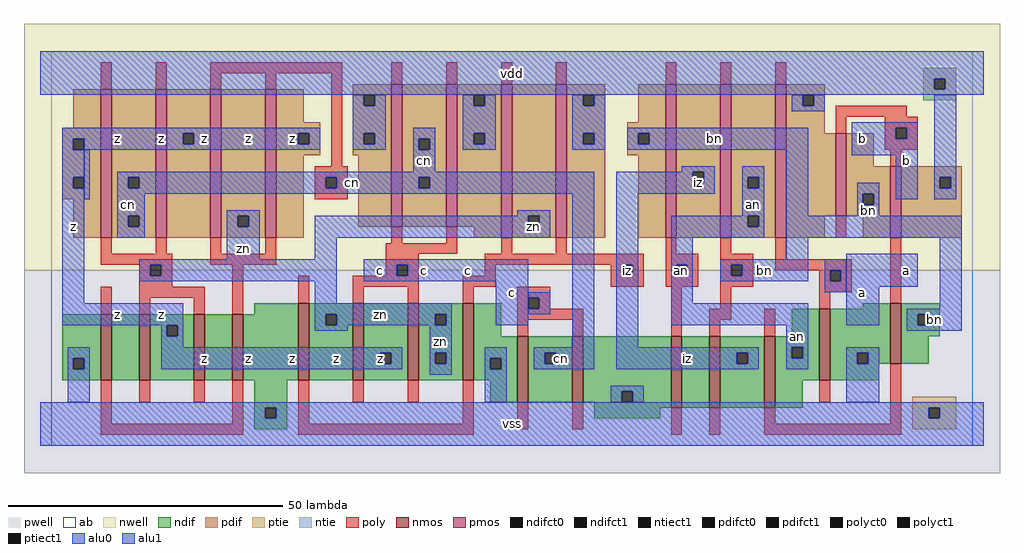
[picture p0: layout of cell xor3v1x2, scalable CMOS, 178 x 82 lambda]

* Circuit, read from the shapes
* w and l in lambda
.subckt xor3v1x2 a an b bn c cn iz vdd vss z zn
M1 n1 cn vss vss nfet w=12 l=2
M2 z zn n1 vss nfet w=12 l=2
M3 n2 zn z vss nfet w=12 l=2
M4 vss cn n2 vss nfet w=12 l=2
M5 zn iz vss vss nfet w=14 l=2 m=2
M6 z c zn vss nfet w=14 l=2 m=2
M7 cn c vss vss nfet w=12 l=2 m=2
M8 n3 an vss vss nfet w=13 l=2
M9 iz bn n3 vss nfet w=13 l=2
M10 an b iz vss nfet w=13 l=2
M11 vss a an vss nfet w=13 l=2
M12 bn b vss vss nfet w=11 l=2
M13 cn zn z vdd pfet w=27 l=2 m=2
M14 zn cn z vdd pfet w=27 l=2 m=2
M15 cn c vdd vdd pfet w=26 l=2 m=2
M16 zn iz vdd vdd pfet w=28 l=2 m=2
M17 iz an bn vdd pfet w=28 l=2
M18 an bn iz vdd pfet w=28 l=2
M19 vdd a an vdd pfet w=28 l=2
M20 bn b vdd vdd pfet w=15 l=2
M21 vdd b bn vdd pfet w=13 l=2
.ends

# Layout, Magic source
magic
tech scmos
<< ab >>
rect 0 0 168 72
<< nwell >>
rect -5 32 173 77
<< pwell >>
rect -5 -5 173 32
<< poly >>
rect 9 65 11 70
rect 19 65 21 70
rect 29 68 53 70
rect 29 65 31 68
rect 39 65 41 68
rect 51 51 53 68
rect 62 66 64 70
rect 72 66 74 70
rect 82 66 84 70
rect 92 66 94 70
rect 112 66 114 70
rect 122 66 124 70
rect 132 66 134 70
rect 48 49 54 51
rect 48 47 50 49
rect 52 47 54 49
rect 48 45 54 47
rect 9 35 11 38
rect 19 35 21 38
rect 29 35 31 38
rect 39 35 41 38
rect 62 37 64 40
rect 72 37 74 40
rect 143 60 156 62
rect 143 57 145 60
rect 152 58 158 60
rect 152 56 154 58
rect 156 56 158 58
rect 152 54 158 56
rect 153 51 155 54
rect 143 38 145 42
rect 9 33 22 35
rect 29 33 41 35
rect 61 35 74 37
rect 82 35 84 38
rect 92 35 94 38
rect 112 35 114 38
rect 122 35 124 38
rect 61 33 67 35
rect 16 31 18 33
rect 20 31 22 33
rect 16 29 22 31
rect 9 24 11 29
rect 16 27 28 29
rect 16 24 18 27
rect 26 24 28 27
rect 33 24 35 33
rect 61 31 63 33
rect 65 31 67 33
rect 79 33 108 35
rect 79 31 81 33
rect 45 26 47 31
rect 55 29 67 31
rect 55 26 57 29
rect 65 26 67 29
rect 75 29 81 31
rect 102 31 104 33
rect 106 31 108 33
rect 102 29 108 31
rect 112 33 118 35
rect 112 31 114 33
rect 116 31 118 33
rect 112 29 118 31
rect 122 33 128 35
rect 122 31 124 33
rect 126 31 128 33
rect 132 34 134 38
rect 132 32 146 34
rect 122 29 128 31
rect 140 30 142 32
rect 144 30 146 32
rect 75 26 77 29
rect 85 27 91 29
rect 85 25 87 27
rect 89 25 91 27
rect 85 23 97 25
rect 85 20 87 23
rect 95 20 97 23
rect 113 20 115 29
rect 122 25 124 29
rect 140 28 146 30
rect 140 25 142 28
rect 153 26 155 38
rect 120 23 124 25
rect 120 20 122 23
rect 130 20 132 25
rect 9 4 11 12
rect 16 8 18 12
rect 26 8 28 12
rect 33 4 35 12
rect 9 2 35 4
rect 45 4 47 12
rect 55 8 57 12
rect 65 8 67 12
rect 75 4 77 12
rect 45 2 77 4
rect 85 3 87 8
rect 95 3 97 8
rect 140 8 142 12
rect 113 2 115 7
rect 120 2 122 7
rect 130 4 132 7
rect 153 4 155 15
rect 130 2 155 4
<< ndif >>
rect 37 24 45 26
rect 2 16 9 24
rect 2 14 4 16
rect 6 14 9 16
rect 2 12 9 14
rect 11 12 16 24
rect 18 22 26 24
rect 18 20 21 22
rect 23 20 26 22
rect 18 12 26 20
rect 28 12 33 24
rect 35 12 45 24
rect 47 24 55 26
rect 47 22 50 24
rect 52 22 55 24
rect 47 12 55 22
rect 57 17 65 26
rect 57 15 60 17
rect 62 15 65 17
rect 57 12 65 15
rect 67 24 75 26
rect 67 22 70 24
rect 72 22 75 24
rect 67 17 75 22
rect 67 15 70 17
rect 72 15 75 17
rect 67 12 75 15
rect 77 20 82 26
rect 148 25 153 26
rect 135 20 140 25
rect 77 16 85 20
rect 77 14 80 16
rect 82 14 85 16
rect 77 12 85 14
rect 37 7 43 12
rect 37 5 39 7
rect 41 5 43 7
rect 37 3 43 5
rect 80 8 85 12
rect 87 17 95 20
rect 87 15 90 17
rect 92 15 95 17
rect 87 8 95 15
rect 97 10 113 20
rect 97 8 104 10
rect 106 8 113 10
rect 99 7 113 8
rect 115 7 120 20
rect 122 17 130 20
rect 122 15 125 17
rect 127 15 130 17
rect 122 7 130 15
rect 132 18 140 20
rect 132 16 135 18
rect 137 16 140 18
rect 132 12 140 16
rect 142 17 153 25
rect 142 15 147 17
rect 149 15 153 17
rect 155 24 162 26
rect 155 22 158 24
rect 160 22 162 24
rect 155 20 162 22
rect 155 15 160 20
rect 142 12 151 15
rect 132 7 137 12
rect 99 5 111 7
<< pdif >>
rect 4 58 9 65
rect 2 56 9 58
rect 2 54 4 56
rect 6 54 9 56
rect 2 49 9 54
rect 2 47 4 49
rect 6 47 9 49
rect 2 45 9 47
rect 4 38 9 45
rect 11 49 19 65
rect 11 47 14 49
rect 16 47 19 49
rect 11 42 19 47
rect 11 40 14 42
rect 16 40 19 42
rect 11 38 19 40
rect 21 57 29 65
rect 21 55 24 57
rect 26 55 29 57
rect 21 38 29 55
rect 31 42 39 65
rect 31 40 34 42
rect 36 40 39 42
rect 31 38 39 40
rect 41 59 46 65
rect 41 57 49 59
rect 41 55 45 57
rect 47 55 49 57
rect 41 53 49 55
rect 41 38 46 53
rect 55 64 62 66
rect 55 62 57 64
rect 59 62 62 64
rect 55 57 62 62
rect 55 55 57 57
rect 59 55 62 57
rect 55 53 62 55
rect 56 40 62 53
rect 64 56 72 66
rect 64 54 67 56
rect 69 54 72 56
rect 64 49 72 54
rect 64 47 67 49
rect 69 47 72 49
rect 64 40 72 47
rect 74 64 82 66
rect 74 62 77 64
rect 79 62 82 64
rect 74 57 82 62
rect 74 55 77 57
rect 79 55 82 57
rect 74 40 82 55
rect 77 38 82 40
rect 84 42 92 66
rect 84 40 87 42
rect 89 40 92 42
rect 84 38 92 40
rect 94 64 101 66
rect 94 62 97 64
rect 99 62 101 64
rect 94 57 101 62
rect 107 59 112 66
rect 94 55 97 57
rect 99 55 101 57
rect 94 38 101 55
rect 105 57 112 59
rect 105 55 107 57
rect 109 55 112 57
rect 105 53 112 55
rect 107 38 112 53
rect 114 50 122 66
rect 114 48 117 50
rect 119 48 122 50
rect 114 38 122 48
rect 124 49 132 66
rect 124 47 127 49
rect 129 47 132 49
rect 124 42 132 47
rect 124 40 127 42
rect 129 40 132 42
rect 124 38 132 40
rect 134 64 141 66
rect 134 62 137 64
rect 139 62 141 64
rect 134 57 141 62
rect 134 42 143 57
rect 145 51 150 57
rect 145 46 153 51
rect 145 44 148 46
rect 150 44 153 46
rect 145 42 153 44
rect 134 38 141 42
rect 148 38 153 42
rect 155 49 166 51
rect 155 47 162 49
rect 164 47 166 49
rect 155 38 166 47
<< alu1 >>
rect -2 67 170 72
rect -2 65 161 67
rect 163 65 170 67
rect -2 64 170 65
rect 2 57 49 58
rect 2 56 24 57
rect 2 54 4 56
rect 6 55 24 56
rect 26 55 45 57
rect 47 55 49 57
rect 6 54 49 55
rect 146 58 158 59
rect 2 49 6 54
rect 2 47 4 49
rect 2 26 6 47
rect 57 33 87 34
rect 57 31 63 33
rect 65 31 87 33
rect 57 30 87 31
rect 2 22 24 26
rect 20 20 21 22
rect 23 20 24 22
rect 81 22 87 30
rect 20 18 24 20
rect 20 17 64 18
rect 20 15 60 17
rect 62 15 64 17
rect 20 14 64 15
rect 146 56 154 58
rect 156 56 158 58
rect 146 53 158 56
rect 154 45 158 53
rect 145 29 158 35
rect 145 22 151 29
rect -2 7 170 8
rect -2 5 39 7
rect 41 5 160 7
rect 162 5 170 7
rect -2 0 170 5
<< ptie >>
rect 157 7 165 9
rect 157 5 160 7
rect 162 5 165 7
rect 157 3 165 5
<< ntie >>
rect 159 67 165 69
rect 159 65 161 67
rect 163 65 165 67
rect 159 63 165 65
<< nmos >>
rect 9 12 11 24
rect 16 12 18 24
rect 26 12 28 24
rect 33 12 35 24
rect 45 12 47 26
rect 55 12 57 26
rect 65 12 67 26
rect 75 12 77 26
rect 85 8 87 20
rect 95 8 97 20
rect 113 7 115 20
rect 120 7 122 20
rect 130 7 132 20
rect 140 12 142 25
rect 153 15 155 26
<< pmos >>
rect 9 38 11 65
rect 19 38 21 65
rect 29 38 31 65
rect 39 38 41 65
rect 62 40 64 66
rect 72 40 74 66
rect 82 38 84 66
rect 92 38 94 66
rect 112 38 114 66
rect 122 38 124 66
rect 132 38 134 66
rect 143 42 145 57
rect 153 38 155 51
<< polyct0 >>
rect 50 47 52 49
rect 18 31 20 33
rect 104 31 106 33
rect 114 31 116 33
rect 124 31 126 33
rect 142 30 144 32
rect 87 25 89 27
<< polyct1 >>
rect 154 56 156 58
rect 63 31 65 33
<< ndifct0 >>
rect 4 14 6 16
rect 50 22 52 24
rect 70 22 72 24
rect 70 15 72 17
rect 80 14 82 16
rect 90 15 92 17
rect 104 8 106 10
rect 125 15 127 17
rect 135 16 137 18
rect 147 15 149 17
rect 158 22 160 24
<< ndifct1 >>
rect 21 20 23 22
rect 60 15 62 17
rect 39 5 41 7
<< ntiect1 >>
rect 161 65 163 67
<< ptiect1 >>
rect 160 5 162 7
<< pdifct0 >>
rect 14 47 16 49
rect 14 40 16 42
rect 34 40 36 42
rect 57 62 59 64
rect 57 55 59 57
rect 67 54 69 56
rect 67 47 69 49
rect 77 62 79 64
rect 77 55 79 57
rect 87 40 89 42
rect 97 62 99 64
rect 97 55 99 57
rect 107 55 109 57
rect 117 48 119 50
rect 127 47 129 49
rect 127 40 129 42
rect 137 62 139 64
rect 148 44 150 46
rect 162 47 164 49
<< pdifct1 >>
rect 4 54 6 56
rect 4 47 6 49
rect 24 55 26 57
rect 45 55 47 57
<< alu0 >>
rect 55 62 57 64
rect 59 62 61 64
rect 55 57 61 62
rect 75 62 77 64
rect 79 62 81 64
rect 55 55 57 57
rect 59 55 61 57
rect 55 54 61 55
rect 66 56 70 58
rect 66 54 67 56
rect 69 54 70 56
rect 75 57 81 62
rect 75 55 77 57
rect 79 55 81 57
rect 75 54 81 55
rect 95 62 97 64
rect 99 62 101 64
rect 95 57 101 62
rect 135 62 137 64
rect 139 62 141 64
rect 135 61 141 62
rect 95 55 97 57
rect 99 55 101 57
rect 95 54 101 55
rect 105 57 138 58
rect 105 55 107 57
rect 109 55 138 57
rect 105 54 138 55
rect 6 45 7 54
rect 66 50 70 54
rect 115 50 121 51
rect 12 49 99 50
rect 12 47 14 49
rect 16 47 50 49
rect 52 47 67 49
rect 69 47 99 49
rect 12 46 99 47
rect 12 42 17 46
rect 12 40 14 42
rect 16 40 17 42
rect 12 38 17 40
rect 32 42 38 43
rect 85 42 91 43
rect 32 40 34 42
rect 36 40 38 42
rect 32 34 38 40
rect 48 40 87 42
rect 89 40 91 42
rect 48 38 91 40
rect 48 34 52 38
rect 16 33 52 34
rect 16 31 18 33
rect 20 31 52 33
rect 16 30 52 31
rect 48 26 52 30
rect 48 24 73 26
rect 48 22 50 24
rect 52 22 70 24
rect 72 22 73 24
rect 87 27 91 28
rect 89 25 91 27
rect 87 24 91 25
rect 48 21 54 22
rect 3 16 7 18
rect 3 14 4 16
rect 6 14 7 16
rect 69 17 73 22
rect 95 18 99 46
rect 69 15 70 17
rect 72 15 73 17
rect 3 8 7 14
rect 69 13 73 15
rect 79 16 83 18
rect 79 14 80 16
rect 82 14 83 16
rect 88 17 99 18
rect 88 15 90 17
rect 92 15 99 17
rect 88 14 99 15
rect 103 48 117 50
rect 119 48 121 50
rect 103 46 121 48
rect 126 49 130 51
rect 126 47 127 49
rect 129 47 130 49
rect 103 33 107 46
rect 126 42 130 47
rect 103 31 104 33
rect 106 31 107 33
rect 103 18 107 31
rect 113 40 127 42
rect 129 40 130 42
rect 113 38 130 40
rect 134 42 138 54
rect 147 46 151 48
rect 147 44 148 46
rect 150 44 151 46
rect 161 49 165 64
rect 161 47 162 49
rect 164 47 165 49
rect 161 45 165 47
rect 147 42 151 44
rect 134 38 166 42
rect 113 33 117 38
rect 134 34 138 38
rect 113 31 114 33
rect 116 31 117 33
rect 113 26 117 31
rect 122 33 138 34
rect 122 31 124 33
rect 126 31 138 33
rect 122 30 138 31
rect 141 32 145 34
rect 141 30 142 32
rect 144 30 145 32
rect 141 28 145 30
rect 113 22 138 26
rect 162 25 166 38
rect 156 24 166 25
rect 156 22 158 24
rect 160 22 166 24
rect 134 18 138 22
rect 156 21 166 22
rect 103 17 129 18
rect 103 15 125 17
rect 127 15 129 17
rect 103 14 129 15
rect 134 16 135 18
rect 137 16 138 18
rect 134 14 138 16
rect 145 17 151 18
rect 145 15 147 17
rect 149 15 151 17
rect 79 8 83 14
rect 102 10 108 11
rect 102 8 104 10
rect 106 8 108 10
rect 145 8 151 15
<< labels >>
rlabel alu0 35 36 35 36 6 zn
rlabel alu0 14 44 14 44 6 cn
rlabel alu0 71 19 71 19 6 zn
rlabel alu0 60 24 60 24 6 zn
rlabel alu0 68 52 68 52 6 cn
rlabel alu0 93 16 93 16 6 cn
rlabel polyct0 115 32 115 32 6 an
rlabel alu0 88 40 88 40 6 zn
rlabel polyct0 105 32 105 32 6 iz
rlabel alu0 55 48 55 48 6 cn
rlabel alu0 118 48 118 48 6 iz
rlabel alu0 116 16 116 16 6 iz
rlabel alu0 136 20 136 20 6 an
rlabel alu0 130 32 130 32 6 bn
rlabel alu0 161 23 161 23 6 bn
rlabel alu0 149 43 149 43 6 bn
rlabel alu0 128 44 128 44 6 an
rlabel alu0 121 56 121 56 6 bn
rlabel alu1 28 16 28 16 6 z
rlabel alu1 36 16 36 16 6 z
rlabel alu1 12 24 12 24 6 z
rlabel alu1 20 24 20 24 6 z
rlabel alu1 4 40 4 40 6 z
rlabel alu1 28 56 28 56 6 z
rlabel alu1 20 56 20 56 6 z
rlabel alu1 12 56 12 56 6 z
rlabel alu1 36 56 36 56 6 z
rlabel alu1 60 16 60 16 6 z
rlabel alu1 52 16 52 16 6 z
rlabel alu1 44 16 44 16 6 z
rlabel alu1 68 32 68 32 6 c
rlabel alu1 76 32 76 32 6 c
rlabel alu1 60 32 60 32 6 c
rlabel alu1 44 56 44 56 6 z
rlabel alu1 84 4 84 4 6 vss
rlabel alu1 84 28 84 28 6 c
rlabel alu1 84 68 84 68 6 vdd
rlabel alu1 148 28 148 28 6 a
rlabel alu1 156 32 156 32 6 a
rlabel alu1 156 52 156 52 6 b
rlabel alu1 148 56 148 56 6 b
<< end >>
